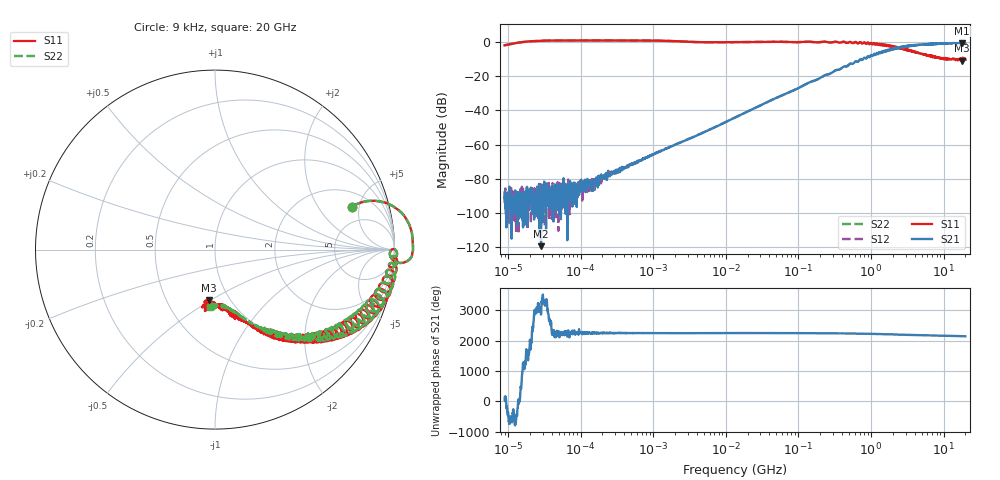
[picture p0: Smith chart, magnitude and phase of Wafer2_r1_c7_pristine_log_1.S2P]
!  2-Port S-parameters saved by WinCal
! VAR MeasName=S-Parameters (CALIBRATED_DATA) read from VNA (P5004A)
! VAR MeasDate=26/04/2024 18:17:33
! VAR NAME=Wafer2_r1_c7_pristine_log
! VAR FILENAME=Wafer2_r1_c7_pristine_log_1.S2P
! VAR DATE=26/04/2024 18:17:33
! VAR PHYS_PORTS=1,2
! VAR ObjTypeName=DATASET
! VAR IndexType=Frequency
# Hz S MA R 50
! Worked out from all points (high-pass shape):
!   2000 points, 9 kHz to 20 GHz, reference 50 ohm
!   highest |S21| = -0.65 dB at 18.05 GHz (marker M1); lowest = -119.3 dB at 28.57 kHz (marker M2)
!   |S21| within 3 dB of the highest: 2.258 GHz to 2.319 GHz (60.83 MHz wide, 2.66 % of centre); 2.344 GHz to end of sweep (the widest 2 of 3)
!   lowest |S11| = -10.9 dB at 17.79 GHz (marker M3), VSWR 1.79, Z = 40 - j24.6 ohm
!   |S11| at or under -10 dB: 12.14 GHz to 12.94 GHz (792.7 MHz wide, 6.32 % of centre); 14.28 GHz to 15.35 GHz (1.076 GHz wide, 7.26 % of centre); 15.37 GHz to 16.02 GHz (644 MHz wide, 4.1 % of centre) (the widest 3 of 19)
!   |S22| runs from -10.6 to 0.9 dB; largest |S21 - S12| = 0.036
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9000  0.7978 17.3  2.757e-05 117.2  1.963e-05 151.2  0.7978 17.3
14581.13  0.9683 15.9  3.082e-05 65.5  1.744e-05 94.7  0.9683 15.9
28568.64  1.083 8.5  1.082e-06 -22.9  1.535e-05 117.0  1.083 8.5
103439.5  1.102 2.1  4.835e-05 79.5  7.989e-05 104.7  1.102 2.1
151281.3  1.103 1.3  7.787e-05 110.0  9.514e-05 79.1  1.103 1.3
204154.8  1.103 0.8  0.0001028 88.4  9.892e-05 87.8  1.103 0.8
1180198  1.09 -2.6  0.0005993 87.4  0.0006219 87.1  1.09 -2.6
4530556  0.9807 -2.6  0.002077 86.7  0.002093 86.7  0.9808 -2.6
1.346554e7  0.9861 0.1  0.006179 89.2  0.006242 88.8  0.9861 0.1
1.105652e8  0.9953 -2.1  0.04986 86.6  0.05021 86.1  0.9948 -2.1
1.536358e8  1.001 -5.6  0.06999 82.8  0.06926 82.9  1.001 -5.4
2.966476e8  0.9826 -6.6  0.13 81.5  0.1313 81.4  0.9825 -6.6
7.506948e8  0.8984 -20.9  0.297 66.6  0.2963 66.8  0.9001 -20.5
1.043128e9  0.8563 -27.9  0.3886 59.2  0.3889 59.3  0.8581 -27.5
1.752917e9  0.747 -37.6  0.5562 48.5  0.5592 48.5  0.7467 -37.1
2.945676e9  0.6042 -50.9  0.7243 33.5  0.7306 33.6  0.6067 -50.2
5.646226e9  0.4237 -68.0  0.8497 14.9  0.8547 14.5  0.422 -66.7
9.488158e9  0.3337 -82.2  0.8934 1.4  0.8838 1.2  0.333 -77.1
1.347662e10  0.3255 -89.4  0.9257 -6.1  0.9218 -6.9  0.3116 -85.9
1.779223e10  0.2843 -96.8  0.8792 -14.8  0.8834 -12.6  0.3286 -91.2
1.805428e10  0.3387 -98.9  0.9284 -14.9  0.903 -16.4  0.296 -91.6
2e10  0.3022 -98.7  0.8865 -17.5  0.8993 -16.8  0.3223 -95.3
